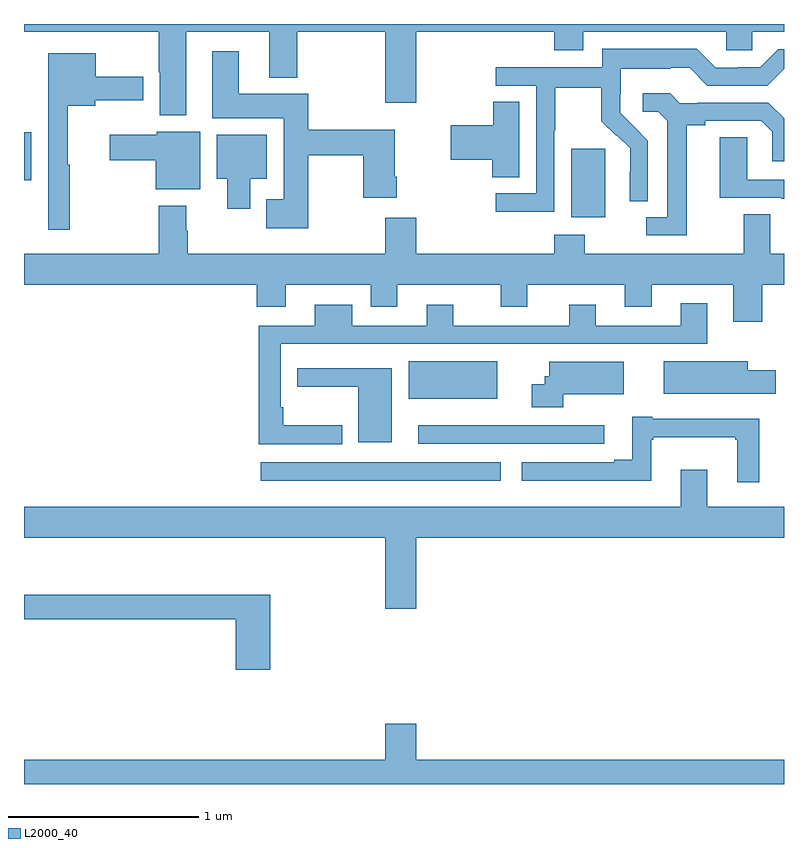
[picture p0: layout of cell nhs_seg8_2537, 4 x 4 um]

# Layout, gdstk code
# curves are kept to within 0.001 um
import gdstk
lib = gdstk.Library(unit=1e-6, precision=1e-09)
def R(c, l, rs):  # rectangles x0, y0, x1, y1
    for r in rs: c.add(gdstk.rectangle(r[:2], r[2:], *l))
def P(c, l, *ps):  # polygons
    for p in ps: c.add(gdstk.Polygon(p, *l))
L2000_40 = (2000, 40)

nhs_seg8_2537 = lib.new_cell('nhs_seg8_2537')
R(nhs_seg8_2537, L2000_40, [(272.247,1087.496,273.508,1087.593), (273.026,1087.928,273.49,1088.125), (273.881,1088.882,274.06,1089.243), (271,1089.077,271.039,1089.331)])
P(nhs_seg8_2537, L2000_40, [(271.855,1089.86),(272.291,1089.86),(272.291,1089.617),(272.439,1089.617),(272.439,1089.86),(272.9,1089.86),(272.9,1089.486),(273.064,1089.486),(273.064,1089.86),(273.791,1089.86),(273.791,1089.761),(273.943,1089.761),(273.943,1089.86),(274.695,1089.86),(274.695,1089.762),(274.833,1089.762),(274.833,1089.86),(275,1089.86),(275,1089.9),(271,1089.9),(271,1089.86),(271.708,1089.86),(271.708,1089.645),(271.715,1089.645),(271.715,1089.419),(271.855,1089.419)],
  [(273.792,1089.34),(273.795,1089.34),(273.795,1089.564),(274.039,1089.564),(274.039,1089.389),(274.116,1089.312),(274.119,1089.315),(274.19,1089.245),(274.19,1089.122),(274.188,1089.122),(274.188,1088.968),(274.284,1088.968),(274.284,1089.286),(274.138,1089.434),(274.138,1089.531),(274.14,1089.531),(274.14,1089.665),(274.403,1089.665),(274.403,1089.669),(274.503,1089.669),(274.596,1089.576),(274.911,1089.576),(275,1089.665),(275,1089.768),(274.971,1089.768),(274.875,1089.672),(274.757,1089.672),(274.757,1089.669),(274.641,1089.669),(274.541,1089.769),(274.044,1089.769),(274.044,1089.672),(273.483,1089.672),(273.483,1089.576),(273.696,1089.576),(273.696,1089.009),(273.483,1089.009),(273.483,1088.911),(273.792,1088.911)],
  [(272.496,1089.208),(272.785,1089.208),(272.785,1088.985),(272.963,1088.985),(272.963,1089.097),(272.95,1089.097),(272.95,1089.344),(272.496,1089.344),(272.496,1089.532),(272.131,1089.532),(272.131,1089.757),(271.991,1089.757),(271.991,1089.404),(272.366,1089.404),(272.366,1088.977),(272.276,1088.977),(272.276,1088.825),(272.496,1088.825)],
  [(271.241,1089.158),(271.231,1089.158),(271.231,1089.47),(271.374,1089.47),(271.374,1089.5),(271.627,1089.5),(271.627,1089.622),(271.378,1089.622),(271.378,1089.745),(271.127,1089.745),(271.127,1088.817),(271.241,1088.817)],
  [(274.489,1089.368),(274.585,1089.368),(274.585,1089.39),(274.88,1089.39),(274.937,1089.333),(274.937,1089.177),(275,1089.177),(275,1089.404),(274.918,1089.486),(274.546,1089.486),(274.546,1089.483),(274.452,1089.483),(274.4,1089.535),(274.257,1089.535),(274.257,1089.438),(274.338,1089.438),(274.385,1089.391),(274.385,1088.883),(274.275,1088.883),(274.275,1088.787),(274.489,1088.787)],
  [(273.607,1089.491),(273.469,1089.491),(273.469,1089.368),(273.246,1089.368),(273.246,1089.185),(273.464,1089.185),(273.464,1089.094),(273.607,1089.094)],
  [(271.927,1089.334),(271.698,1089.334),(271.698,1089.316),(271.452,1089.316),(271.452,1089.182),(271.694,1089.182),(271.694,1089.029),(271.927,1089.029)],
  [(272.191,1089.086),(272.278,1089.086),(272.278,1089.316),(272.015,1089.316),(272.015,1089.086),(272.069,1089.086),(272.069,1088.928),(272.191,1088.928)],
  [(275,1089.081),(274.806,1089.081),(274.806,1089.305),(274.661,1089.305),(274.661,1088.985),(274.985,1088.985),(274.985,1088.981),(275,1088.981)],
  [(274.886,1088.528),(275,1088.528),(275,1088.692),(274.927,1088.692),(274.927,1088.9),(274.787,1088.9),(274.787,1088.692),(273.951,1088.692),(273.951,1088.791),(273.791,1088.791),(273.791,1088.692),(273.064,1088.692),(273.064,1088.881),(272.9,1088.881),(272.9,1088.692),(271.863,1088.692),(271.863,1088.813),(271.855,1088.813),(271.855,1088.944),(271.708,1088.944),(271.708,1088.692),(271,1088.692),(271,1088.528),(272.225,1088.528),(272.225,1088.411),(272.377,1088.411),(272.377,1088.528),(272.825,1088.528),(272.825,1088.411),(272.965,1088.411),(272.965,1088.528),(273.509,1088.528),(273.509,1088.411),(273.649,1088.411),(273.649,1088.528),(274.163,1088.528),(274.163,1088.411),(274.303,1088.411),(274.303,1088.528),(274.733,1088.528),(274.733,1088.334),(274.886,1088.334)],
  [(272.674,1087.787),(272.365,1087.787),(272.365,1087.882),(272.352,1087.882),(272.352,1088.217),(274.597,1088.217),(274.597,1088.431),(274.457,1088.431),(274.457,1088.313),(274.009,1088.313),(274.009,1088.422),(273.869,1088.422),(273.869,1088.313),(273.259,1088.313),(273.259,1088.422),(273.119,1088.422),(273.119,1088.313),(272.728,1088.313),(272.728,1088.422),(272.531,1088.422),(272.531,1088.313),(272.236,1088.313),(272.236,1087.689),(272.674,1087.689)],
  [(274.957,1088.077),(274.81,1088.077),(274.81,1088.125),(274.367,1088.125),(274.367,1087.955),(274.957,1087.955)],
  [(273.837,1087.952),(274.156,1087.952),(274.156,1088.122),(273.764,1088.122),(273.764,1088.046),(273.741,1088.046),(273.741,1088.005),(273.672,1088.005),(273.672,1087.883),(273.837,1087.883)],
  [(272.935,1088.088),(272.545,1088.088),(272.545,1088.087),(272.437,1088.087),(272.437,1087.991),(272.759,1087.991),(272.759,1087.7),(272.935,1087.7)],
  [(274.871,1087.822),(274.306,1087.822),(274.306,1087.834),(274.202,1087.834),(274.202,1087.606),(274.106,1087.606),(274.106,1087.593),(273.621,1087.593),(273.621,1087.496),(274.3,1087.496),(274.3,1087.713),(274.312,1087.713),(274.312,1087.724),(274.743,1087.724),(274.743,1087.713),(274.754,1087.713),(274.754,1087.488),(274.871,1087.488)],
  [(274.054,1087.788),(273.486,1087.788),(273.486,1087.789),(273.075,1087.789),(273.075,1087.692),(274.054,1087.692)],
  [(273.064,1087.196),(275,1087.196),(275,1087.36),(274.597,1087.36),(274.597,1087.555),(274.457,1087.555),(274.457,1087.36),(271,1087.36),(271,1087.196),(272.9,1087.196),(272.9,1086.822),(273.064,1086.822)],
  [(272.297,1086.895),(271,1086.895),(271,1086.766),(272.114,1086.766),(272.114,1086.501),(272.297,1086.501)],
  [(275,1086.028),(273.064,1086.028),(273.064,1086.217),(272.9,1086.217),(272.9,1086.028),(271,1086.028),(271,1085.9),(275,1085.9)])

lib.write_gds('nhs_seg8_2537.gds')
